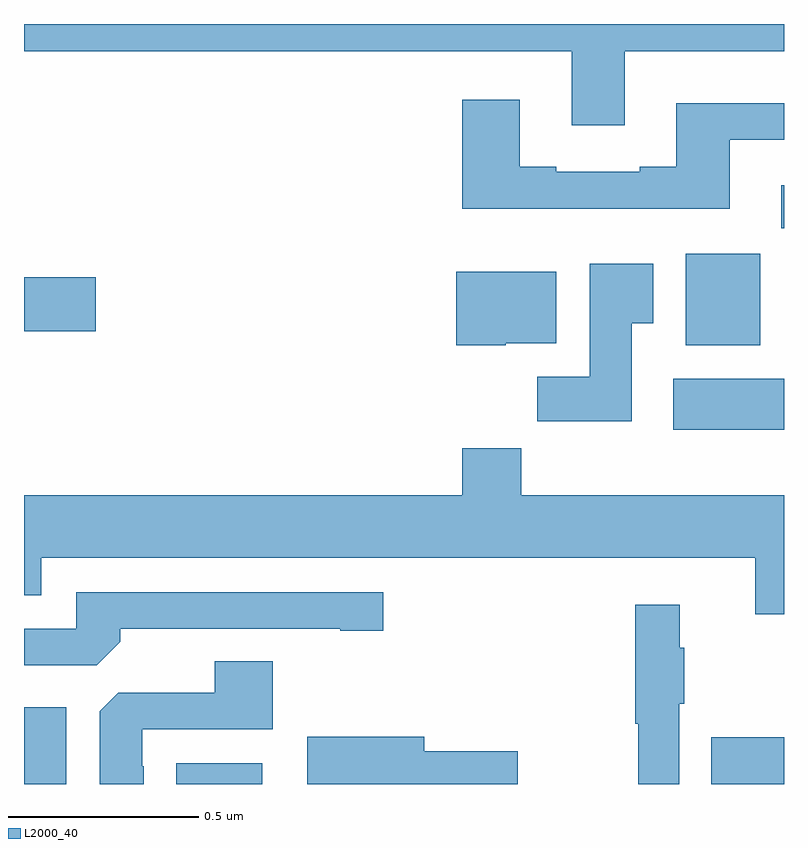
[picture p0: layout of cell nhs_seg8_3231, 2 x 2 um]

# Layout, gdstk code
import gdstk
lib = gdstk.Library(unit=1e-6, precision=1e-09)
def R(c, l, rs):  # rectangles x0, y0, x1, y1
    for r in rs: c.add(gdstk.rectangle(r[:2], r[2:], *l))
def P(c, l, *ps):  # polygons
    for p in ps: c.add(gdstk.Polygon(p, *l))
L2000_40 = (2000, 40)

nhs_seg8_3231 = lib.new_cell('nhs_seg8_3231')
R(nhs_seg8_3231, L2000_40, [(154,1119.9,154.111,1120.102), (154.4,1119.9,154.627,1119.955), (155.809,1119.9,156,1120.023), (155.709,1120.832,156,1120.966), (155.741,1121.054,155.938,1121.296), (154,1121.092,154.189,1121.234), (155.993,1121.363,156,1121.476)])
P(nhs_seg8_3231, L2000_40, [(155.581,1121.828),(156,1121.828),(156,1121.9),(154,1121.9),(154,1121.828),(155.441,1121.828),(155.441,1121.634),(155.581,1121.634)],
  [(155.857,1121.595),(156,1121.595),(156,1121.692),(155.717,1121.692),(155.717,1121.524),(155.621,1121.524),(155.621,1121.511),(155.401,1121.511),(155.401,1121.524),(155.305,1121.524),(155.305,1121.701),(155.153,1121.701),(155.153,1121.414),(155.857,1121.414)],
  [(155.599,1121.113),(155.656,1121.113),(155.656,1121.269),(155.489,1121.269),(155.489,1120.972),(155.35,1120.972),(155.35,1120.854),(155.599,1120.854)],
  [(155.268,1121.06),(155.401,1121.06),(155.401,1121.248),(155.138,1121.248),(155.138,1121.054),(155.268,1121.054)],
  [(156,1120.66),(155.309,1120.66),(155.309,1120.784),(155.153,1120.784),(155.153,1120.66),(154,1120.66),(154,1120.397),(154.045,1120.397),(154.045,1120.496),(155.924,1120.496),(155.924,1120.347),(156,1120.347)],
  [(154.253,1120.274),(154.253,1120.308),(154.832,1120.308),(154.832,1120.303),(154.945,1120.303),(154.945,1120.404),(154.137,1120.404),(154.137,1120.308),(154,1120.308),(154,1120.212),(154.191,1120.212)],
  [(155.724,1120.111),(155.737,1120.111),(155.737,1120.259),(155.726,1120.259),(155.726,1120.372),(155.608,1120.372),(155.608,1120.059),(155.616,1120.059),(155.616,1119.9),(155.724,1119.9)],
  [(154.315,1119.947),(154.311,1119.947),(154.311,1120.044),(154.655,1120.044),(154.655,1120.223),(154.502,1120.223),(154.502,1120.14),(154.248,1120.14),(154.199,1120.091),(154.199,1119.9),(154.315,1119.9)],
  [(155.299,1119.986),(155.053,1119.986),(155.053,1120.024),(154.746,1120.024),(154.746,1119.9),(155.299,1119.9)])

lib.write_gds('nhs_seg8_3231.gds')
